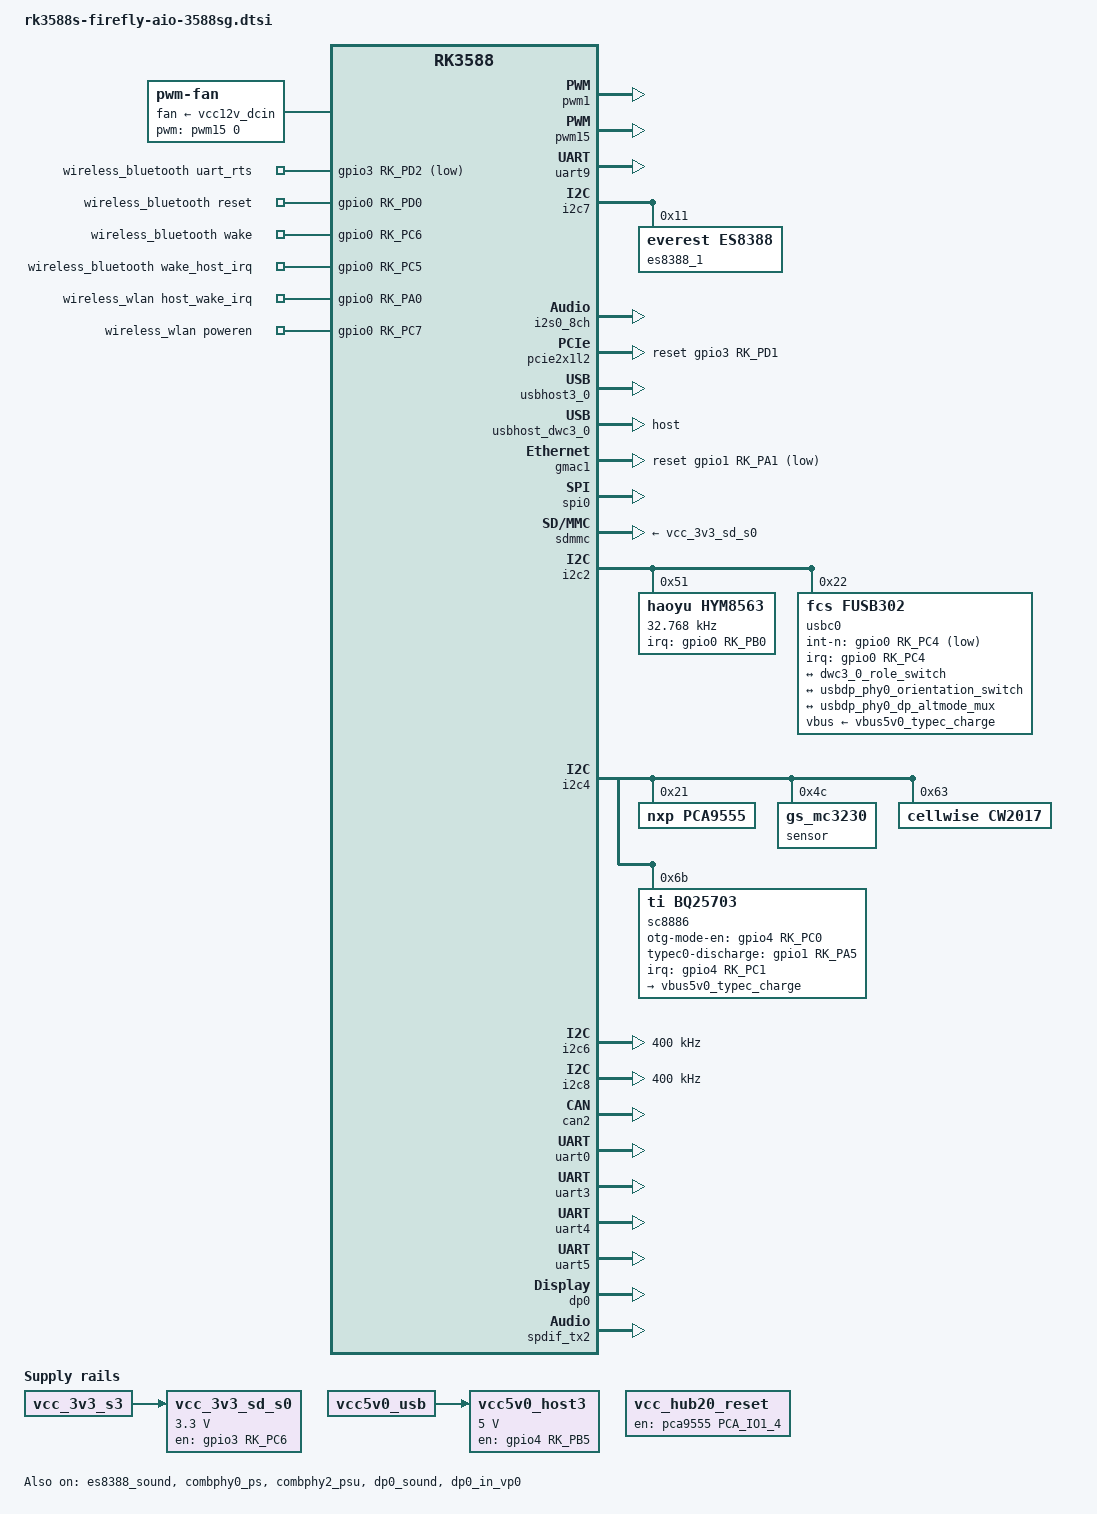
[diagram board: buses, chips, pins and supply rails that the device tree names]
// SPDX-License-Identifier: (GPL-2.0+ OR MIT)
/*
 * Copyright (c) 2022 T-chip Firefly Electronics Co., Ltd.
 *
 */

#include "rk3588-firefly-port.dtsi"

/ {
	chosen: chosen {
		bootargs = "earlycon=uart8250,mmio32,0xfeb50000 console=ttyFIQ0 irqchip.gicv3_pseudo_nmi=0 root=PARTLABEL=rootfs rootfstype=ext4 ro rootwait overlayroot=device:dev=PARTLABEL=userdata,fstype=ext4,mkfs=1 coherent_pool=1m systemd.gpt_auto=0 cgroup_enable=memory swapaccount=1 net.ifnames=0";
	};
	firefly_leds: leds {
		power_led: power {
			label = ":power";
			linux,default-trigger = "ir-power-click";
			default-state = "on";
			gpios = <&pca9555 PCA_IO1_7 GPIO_ACTIVE_HIGH>;
		};

		user_led: user {
			label = ":user";
			linux,default-trigger = "ir-user-click";
			default-state = "off";
			gpios = <&pca9555 PCA_IO1_6 GPIO_ACTIVE_HIGH>;
		};

		user_led1: user1 {
			label = ":user1";
			linux,default-trigger = "ir-user1-click";
			default-state = "off";
			gpios = <&pca9555 PCA_IO1_5 GPIO_ACTIVE_HIGH>;
		};
	};

	fan: pwm-fan {
		compatible = "pwm-fan";
		#cooling-cells = <2>;
		fan-supply = <&vcc12v_dcin>;
		pwms = <&pwm15 0 50000 0>;
	};

	vcc_3v3_sd_s0: vcc-3v3-sd-s0 {
		compatible = "regulator-fixed";
		regulator-name = "vcc_3v3_sd_s0";
		regulator-min-microvolt = <3300000>;
		regulator-max-microvolt = <3300000>;
		gpios = <&gpio3 RK_PC6 GPIO_ACTIVE_HIGH>;
		enable-active-high;
		vin-supply = <&vcc_3v3_s3>;
			regulator-state-mem {
			regulator-off-in-suspend;
		};
	};

    vcc_hub20_reset: vcc-hub20-reset-regulator {
        compatible = "regulator-fixed";
        regulator-name = "vcc_hub20_reset";
        regulator-boot-on;
        regulator-always-on;
        enable-active-high;
        gpio = <&pca9555 PCA_IO1_4 GPIO_ACTIVE_HIGH>;  //PCA_IO 14
    };

    wireless_bluetooth: wireless-bluetooth {
        compatible = "bluetooth-platdata";
        clocks = <&hym8563>;
        clock-names = "ext_clock";
        uart_rts_gpios = <&gpio3 RK_PD2 GPIO_ACTIVE_LOW>;
        pinctrl-names = "default", "rts_gpio";
        pinctrl-0 = <&uart9m2_rtsn>,  <&bt_reset_gpio>, <&bt_wake_gpio>, <&bt_irq_gpio>;
        pinctrl-1 = <&uart9_gpios>;
        BT,reset_gpio    = <&gpio0 RK_PD0 GPIO_ACTIVE_HIGH>;
        BT,wake_gpio     = <&gpio0 RK_PC6 GPIO_ACTIVE_HIGH>;
        BT,wake_host_irq = <&gpio0 RK_PC5 GPIO_ACTIVE_HIGH>;
        status = "okay";
    };

    wireless_wlan: wireless-wlan {
        compatible = "wlan-platdata";
        wifi_chip_type = "ap6275p";
        pinctrl-names = "default";
        pinctrl-0 = <&wifi_host_wake_irq>, <&wifi_poweren_gpio>;
        WIFI,host_wake_irq = <&gpio0 RK_PA0 GPIO_ACTIVE_HIGH>;
        WIFI,poweren_gpio = <&gpio0 RK_PC7 GPIO_ACTIVE_HIGH>;
        status = "okay";
    };

	firefly_wake {
		compatible = "firefly-wake";
		status = "disabled";
	};

	charge-animation {
		compatible = "rockchip,uboot-charge";
		rockchip,uboot-charge-on = <1>;
		rockchip,android-charge-on = <0>;
		rockchip,uboot-exit-charge-level = <2>;
		rockchip,uboot-exit-charge-auto = <1>;
		rockchip,uboot-low-power-voltage = <6144>;
		rockchip,screen-on-voltage = <6144>;
		//rockchip,uboot-exit-charge-voltage = <2000>;
		status = "okay";
	};

	vcc5v0_host3: vcc5v0-host3 {
		compatible = "regulator-fixed";
		regulator-name = "vcc5v0_host3";
		regulator-boot-on;
		regulator-always-on;
		regulator-min-microvolt = <5000000>;
		regulator-max-microvolt = <5000000>;
		enable-active-high;
		gpio = <&pca9555 PCA_IO0_7 GPIO_ACTIVE_HIGH>; 
		vin-supply = <&vcc5v0_usb>;
		status = "disabled";
       };
};

&vcc5v0_sys{
        enable-active-high;
        gpio = <&gpio4 RK_PA0 GPIO_ACTIVE_HIGH>;
};

&pwm1 {
    pinctrl-0 = <&pwm1m0_pins>;
    status = "okay";
};

&pwm15 {
	pinctrl-0 = <&pwm15m2_pins>;
	status = "okay";
};


&uart9 {
    pinctrl-names = "default";
    pinctrl-0 = <&uart9m2_xfer &uart9m2_ctsn>;
    status = "okay";
};

&vcc_3v3_s3 {
    regulator-state-mem {
        regulator-off-in-suspend;
    };
};

&vcc_3v3_s0 {
    regulator-state-mem {
        regulator-off-in-suspend;
        regulator-suspend-microvolt = <3300000>;
    };
};

&vcc_1v8_s0 {
    regulator-state-mem {
        regulator-off-in-suspend;
    };

};

/* es8323 audio codec */
&es8388_sound {
	status = "okay";
	compatible = "firefly,multicodecs-card";
	rockchip,card-name = "rockchip-es8388";

	io-channels = <&saradc 0>;
	io-channel-names = "adc-detect";
	hp-det-adc-value = <3900>; //adc value,not microvolt
	spk-con-gpio = <&gpio1 RK_PC0 GPIO_ACTIVE_HIGH>;

	rockchip,cpu = <&i2s0_8ch>;
	rockchip,codec = <&es8388_1>;
	rockchip,audio-routing =
			"Headphone", "LOUT1",
			"Headphone", "ROUT1",
			"Speaker", "LOUT2",
			"Speaker", "ROUT2",
			"Headphone", "Headphone Power",
			"Headphone", "Headphone Power",
			"Speaker", "Speaker Power",
			"Speaker", "Speaker Power",
			"LINPUT1", "Main Mic",
			"RINPUT1", "Main Mic",
			"LINPUT2", "Headset Mic",
			"RINPUT2", "Headset Mic";

	/delete-property/ hp-det-gpio;
	/delete-property/ hp-con-gpio;
	/delete-property/ pinctrl-names;
	/delete-property/ pinctrl-0;
	/delete-property/ linein-type;
};

&i2c7 {
    status = "okay";
    pinctrl-names = "default";
    pinctrl-0 = <&i2c7m0_xfer>;
    es8388_1: es8388_1@11 {
    status = "okay";
            #sound-dai-cells = <0>;
            compatible = "everest,es8388", "everest,es8323";
            reg = <0x11>;
            clocks = <&cru I2S0_8CH_MCLKOUT>;
            clock-names = "mclk";
            assigned-clocks = <&cru I2S0_8CH_MCLKOUT>;
            assigned-clock-rates = <12288000>;
            pinctrl-names = "default";
            pinctrl-0 = <&i2s0_mclk>;
    };
};

&i2s0_8ch{
	status = "okay";
};


/* pcie2.0 */
&combphy0_ps {
	status = "okay";
};

&pcie2x1l2 {
	reset-gpios = <&gpio3 RK_PD1 GPIO_ACTIVE_HIGH>;
	rockchip,skip-scan-in-resume;
	status = "okay";
};

/* usb3.0 */
&combphy2_psu {
	status = "okay";
};

&usbhost3_0 {
	status = "okay";
};

&usbhost_dwc3_0 {
	status = "okay";
	dr_mode = "host";
};


 &vcc5v0_host {
        status = "okay";

        /delete-property/ regulator-boot-on;
	    gpio = <&gpio1 RK_PB1 GPIO_ACTIVE_HIGH>;
        /delete-property/ pinctrl-names;
        /delete-property/ pinctrl-0;
 };

 &vcc5v0_host3 {
    	status = "okay";
    	gpio = <&gpio4 RK_PB5 GPIO_ACTIVE_HIGH>;

 
 };

/* usb2.0 hub */
&vcc_hub_reset {
	status = "okay";
	gpio = <&pca9555 PCA_IO1_4 GPIO_ACTIVE_HIGH>;
};

/* disable for charge ic sc8886 */
&vbus5v0_typec_pwr_en {
    status = "disabled";
};

&gmac1{
 	snps,reset-gpio = <&gpio1 RK_PA1 GPIO_ACTIVE_LOW>;
	tx_delay = <0x37>;
	status = "okay";
};

&spi0 {
	status = "okay";
	pinctrl-names = "default";
	pinctrl-0 = <&spi0m2_cs0 &spi0m2_pins>;
	num-cs = <1>;
};

/* PMIC spi2 */
&spi2 {
	pinctrl-names = "default";
	pinctrl-0 = <&spi2m2_cs0 &spi2m2_pins>;
	num-cs = <1>;
};

&sdmmc {
	status = "okay";
	vmmc-supply = <&vcc_3v3_sd_s0>;
};

&i2c2 {
	status = "okay";
	pinctrl-names = "default";
	pinctrl-0 = <&i2c2m0_xfer>;

	hym8563: hym8563@51 {
		compatible = "haoyu,hym8563";
		reg = <0x51>;
		#clock-cells = <0>;
		clock-frequency = <32768>;
		clock-output-names = "hym8563";
		pinctrl-names = "default";
		pinctrl-0 = <&hym8563_int>;
		interrupt-parent = <&gpio0>;
		interrupts = <RK_PB0 IRQ_TYPE_LEVEL_LOW>;
		wakeup-source;
		status = "okay";
	};

	usbc0: fusb302@22 {
		compatible = "fcs,fusb302";
		reg = <0x22>;
		interrupt-parent = <&gpio0>;
		interrupts = <RK_PC4 IRQ_TYPE_LEVEL_LOW>;
		int-n-gpios = <&gpio0 RK_PC4 GPIO_ACTIVE_LOW>;
		pinctrl-names = "default";
		pinctrl-0 = <&usbc0_int>;
		vbus-supply = <&vbus5v0_typec_charge>;
		charge-dev = <&sc8886>;
		suspend-disable-irq;
		status = "okay";

		ports {
			#address-cells = <1>;
			#size-cells = <0>;

			port@0 {
				reg = <0>;
				usbc0_role_sw: endpoint@0 {
					remote-endpoint = <&dwc3_0_role_switch>;
				};
			};
		};

		usb_con: connector {
			compatible = "usb-c-connector";
			label = "USB-C";
			data-role = "dual";
			power-role = "dual";
			try-power-role = "sink";
			op-sink-microwatt = <1000000>;
			sink-pdos =
				<PDO_FIXED(5000, 3000, PDO_FIXED_USB_COMM)
				 PDO_FIXED(9000, 3000, PDO_FIXED_USB_COMM)
				 PDO_FIXED(12000, 2000, PDO_FIXED_USB_COMM)>;
			source-pdos =
				<PDO_FIXED(5000, 3000, PDO_FIXED_USB_COMM)>;

			altmodes {
				#address-cells = <1>;
				#size-cells = <0>;

				altmode@0 {
					reg = <0>;
					svid = <0xff01>;
					vdo = <0xffffffff>;
				};
			};

			ports {
				#address-cells = <1>;
				#size-cells = <0>;

				port@0 {
					reg = <0>;
					usbc0_orien_sw: endpoint {
						remote-endpoint = <&usbdp_phy0_orientation_switch>;
					};
				};

				port@1 {
					reg = <1>;
					dp_altmode_mux: endpoint {
						remote-endpoint = <&usbdp_phy0_dp_altmode_mux>;
					};
				};
			};
		};
	};
};

&i2c4 {
	status = "okay";
	pinctrl-names = "default";
	pinctrl-0 = <&i2c4m3_xfer>;

    pca9555: gpio@21 {
		status = "okay";
		compatible = "nxp,pca9555";
		//suspend-io-state = <0xc0>;
		//resume-io-state = <0x38cf>;
		//hold-io-state = <0x1000>;
		reg = <0x21>;
		gpio-controller;
		#gpio-cells = <2>;
		gpio-group-num = <200>;
    };

    sensor@4c {
        compatible = "gs_mc3230";
        reg = <0x4c>;
        type = <SENSOR_TYPE_ACCEL>;
        irq_enable = <0>;
        poll_delay_ms = <30>;
        layout = <6>;
    };

    cw2017: cw2017@63 {
        status = "okay";
        compatible = "cellwise,cw2017";
        reg = <0x63>;
        cellwise,battery-profile = /bits/ 8
            <
			0x3C 0x00 0x00 0x00 0x00 0x00 0x00 0x00
			0xB0 0xC4 0xBF 0xB9 0x9B 0x97 0xE0 0xCF
			0xC1 0xCD 0xBB 0x9D 0x88 0x7C 0x65 0x56
			0x52 0x50 0x4E 0x97 0x79 0xD2 0xDE 0xFF
			0xE5 0xB4 0x71 0x7C 0xB0 0xC5 0xAE 0x93
			0x9D 0xB5 0xCF 0xD5 0xC6 0xB0 0x99 0x89
			0x82 0x85 0x91 0xA8 0xC1 0xC9 0xB0 0x43
			0x00 0x00 0x90 0x02 0x00 0x00 0x00 0x00
			0x00 0x00 0x64 0x00 0x00 0x00 0x00 0x00
			0x00 0x00 0x00 0x00 0x00 0x00 0x00 0xA2
            >;
        cellwise,dual-cell;
        cellwise,monitor-interval-ms = <5000>;
        cellwise,alert-level = <10>;
        cellwise,design-capacity-amh = <5000>;
        power-supplies = <&sc8886>;
		firefly,battery-max-voltage = <8400>;
		firefly,battery-min-voltage = <6000>;
		firefly,max-temp = <45>;
		firefly,min-temp = <10>;
    };

    sc8886: sc8886@6b {
        status = "okay";
        // compatible = "southchip,sc8886";
		compatible = "ti,bq25703";
        reg = <0x6b>;
        ti,usb-charger-detection = <&usbc0>;
        interrupt-parent = <&gpio4>;
        interrupts = <RK_PC1 IRQ_TYPE_LEVEL_LOW>;
        otg-mode-en-gpios = <&gpio4 RK_PC0 GPIO_ACTIVE_HIGH>;
        pinctrl-names = "default";
        pinctrl-0 = <&charger_ok>;
        extcon = <&u2phy0>;
        ti,charge-current = <2000000>;
        ti,max-input-voltage = <20000000>;
        ti,max-input-current = <6000000>;
        ti,max-charge-voltage = <8400000>;
        ti,input-current = <2500000>;
        ti,input-current-sdp = <2500000>;
        ti,input-current-dcp = <2500000>;
        ti,input-current-cdp = <2500000>;
        ti,minimum-sys-voltage = <6144000>;
        ti,otg-voltage = <5000000>;
        ti,otg-current = <1500000>;
        pd-charge-only = <0>;
        typec0-discharge-gpios = <&gpio1 RK_PA5 GPIO_ACTIVE_HIGH>;
        regulators {
            vbus5v0_typec_charge: vbus5v0-typec-charge {
                regulator-compatible = "otg-vbus";
                regulator-name = "vbus5v0_typec_charge";
            };
        };
    };
};

&i2c6 {
	status = "okay";
	clock-frequency = <400000>;
   	pinctrl-names = "default";
	pinctrl-0 = <&i2c6m3_xfer>;
};

&i2c8 {
	status = "okay";
	clock-frequency = <400000>;
	pinctrl-names = "default";
	pinctrl-0 = <&i2c8m2_xfer>;
};

&usbdp_phy0 {
	sbu1-dc-gpios = <&gpio1 RK_PB0 GPIO_ACTIVE_HIGH>;
	sbu2-dc-gpios = <&gpio1 RK_PA0 GPIO_ACTIVE_HIGH>;
};


&can2 {
    status = "okay";
    pinctrl-names = "default";
    pinctrl-0 = <&can2m1_pins>;
};

&uart0 {
    status = "okay";
    pinctrl-names = "default";
    pinctrl-0 = <&uart0m2_xfer>;
};

&uart3 {
    status = "okay";
    pinctrl-names = "default";
    pinctrl-0 = <&uart3m2_xfer>;
};

&uart4 {
	status = "okay";
	pinctrl-names = "default";
	pinctrl-0 = <&uart4m0_xfer>;
};

&uart5 {
	status = "okay";
	pinctrl-names = "default";
	pinctrl-0 = <&uart5m1_xfer>;
};

/* dp start */
&dp0_sound{
    status = "okay";
};

&dp0 {
    status = "okay";
};

&dp0_in_vp0 {
    status = "okay";
};

&spdif_tx2{
    status = "okay";
};
/* dp end */

&pinctrl {
	leds {
		led_user: led-user {
			rockchip,pins = <1 RK_PD5 RK_FUNC_GPIO &pcfg_pull_none>;
		};
		led_power: led-power {
			rockchip,pins = <1 RK_PD2 RK_FUNC_GPIO &pcfg_pull_none>;
		};
	};

	headphone {
		hp_det: hp-det {
			rockchip,pins = <1 RK_PC0 RK_FUNC_GPIO &pcfg_pull_none>;
		};
	};

	hym8563 {
		hym8563_int: hym8563-int {
			rockchip,pins = <0 RK_PB0 RK_FUNC_GPIO &pcfg_pull_up>;
		};
	};

	usb-typec {
		usbc0_int: usbc0-int {
			rockchip,pins = <0 RK_PC4 RK_FUNC_GPIO &pcfg_pull_up>;
		};

	};

    wireless-bluetooth {
        uart9_gpios: uart9-gpios {
                rockchip,pins = <3 RK_PD2 RK_FUNC_GPIO &pcfg_pull_none>;
        };

        bt_reset_gpio: bt-reset-gpio {
                rockchip,pins = <0 RK_PD0 RK_FUNC_GPIO &pcfg_pull_none>;
        };

        bt_wake_gpio: bt-wake-gpio {
                rockchip,pins = <0 RK_PC6 RK_FUNC_GPIO &pcfg_pull_none>;
        };

        bt_irq_gpio: bt-irq-gpio {
                rockchip,pins = <0 RK_PC5 RK_FUNC_GPIO &pcfg_pull_down>;
        };
    };

    wireless-wlan {
        wifi_host_wake_irq: wifi-host-wake-irq {
                rockchip,pins = <0 RK_PA0 RK_FUNC_GPIO &pcfg_pull_down>;
        };

        wifi_poweren_gpio: wifi-poweren-gpio {
                rockchip,pins = <0 RK_PC7 RK_FUNC_GPIO &pcfg_pull_up>;
        };
    };

    charger {
        charger_ok: charger_ok {
                rockchip,pins = <4 RK_PC1 RK_FUNC_GPIO &pcfg_pull_up>;
        };
    };
};
